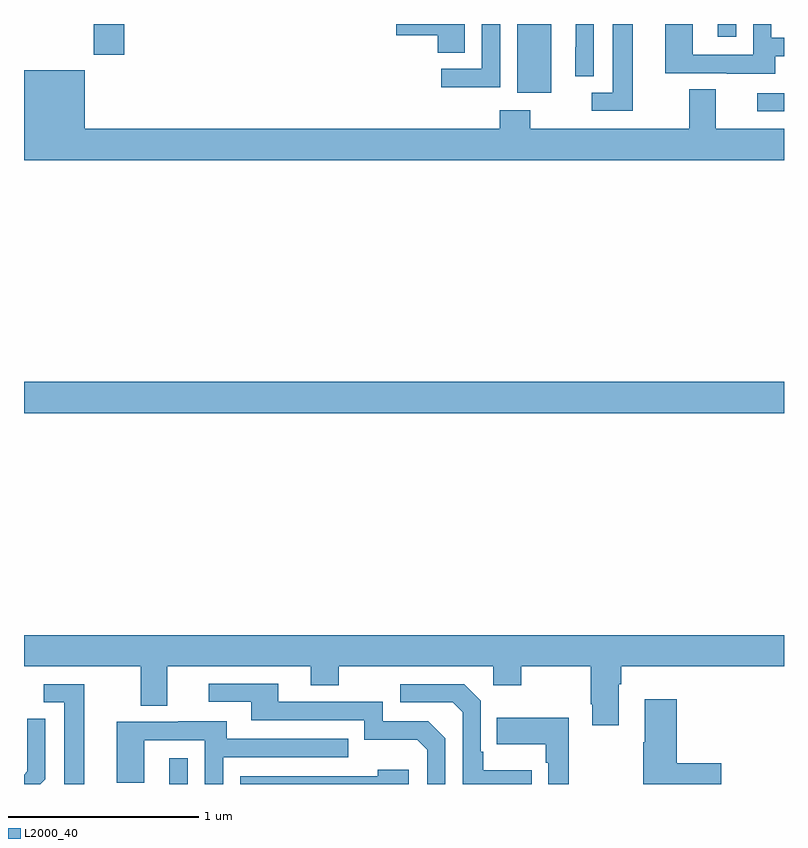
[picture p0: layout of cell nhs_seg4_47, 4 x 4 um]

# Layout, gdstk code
import gdstk
lib = gdstk.Library(unit=1e-6, precision=1e-09)
def R(c, l, rs):  # rectangles x0, y0, x1, y1
    for r in rs: c.add(gdstk.rectangle(r[:2], r[2:], *l))
def P(c, l, *ps):  # polygons
    for p in ps: c.add(gdstk.Polygon(p, *l))
L2000_40 = (2000, 40)

nhs_seg4_47 = lib.new_cell('nhs_seg4_47')
R(nhs_seg4_47, L2000_40, [(113.765,762.9,113.862,763.036), (113,764.852,117,765.016), (116.859,766.44,117,766.536), (115.595,766.538,115.774,766.899), (113.368,766.737,113.528,766.9), (116.651,766.833,116.748,766.9)])
P(nhs_seg4_47, L2000_40, [(116.953,766.731),(117,766.731),(117,766.827),(116.934,766.827),(116.934,766.9),(116.838,766.9),(116.838,766.737),(116.52,766.737),(116.52,766.9),(116.375,766.9),(116.375,766.641),(116.699,766.641),(116.699,766.637),(116.953,766.637)],
  [(115.321,766.9),(114.96,766.9),(114.96,766.841),(115.178,766.841),(115.178,766.75),(115.321,766.75)],
  [(115.506,766.9),(115.41,766.9),(115.41,766.665),(115.197,766.665),(115.197,766.567),(115.506,766.567)],
  [(115.998,766.9),(115.904,766.9),(115.904,766.778),(115.902,766.778),(115.902,766.624),(115.998,766.624)],
  [(116.203,766.9),(116.099,766.9),(116.099,766.539),(115.989,766.539),(115.989,766.443),(116.203,766.443)],
  [(117,766.348),(116.641,766.348),(116.641,766.556),(116.501,766.556),(116.501,766.348),(115.665,766.348),(115.665,766.447),(115.505,766.447),(115.505,766.348),(113.32,766.348),(113.32,766.657),(113,766.657),(113,766.184),(117,766.184)],
  [(116.131,763.424),(116.144,763.424),(116.144,763.52),(117,763.52),(117,763.684),(113,763.684),(113,763.52),(113.615,763.52),(113.615,763.312),(113.755,763.312),(113.755,763.52),(114.509,763.52),(114.509,763.421),(114.657,763.421),(114.657,763.52),(115.47,763.52),(115.47,763.421),(115.617,763.421),(115.617,763.52),(115.984,763.52),(115.984,763.321),(115.991,763.321),(115.991,763.209),(116.131,763.209)],
  [(115.218,763.14),(115.128,763.23),(114.888,763.23),(114.888,763.332),(114.337,763.332),(114.337,763.428),(113.973,763.428),(113.973,763.332),(114.197,763.332),(114.197,763.236),(114.792,763.236),(114.792,763.133),(115.069,763.133),(115.122,763.08),(115.122,762.9),(115.218,762.9)],
  [(115.673,762.973),(115.417,762.973),(115.417,763.069),(115.404,763.069),(115.404,763.338),(115.317,763.425),(114.981,763.425),(114.981,763.329),(115.257,763.329),(115.308,763.278),(115.308,762.9),(115.673,762.9)],
  [(113.317,763.425),(113.103,763.425),(113.103,763.329),(113.213,763.329),(113.213,762.9),(113.317,762.9)],
  [(116.671,763.01),(116.435,763.01),(116.435,763.345),(116.267,763.345),(116.267,763.121),(116.26,763.121),(116.26,762.9),(116.671,762.9)],
  [(115.867,763.249),(115.489,763.249),(115.489,763.109),(115.746,763.109),(115.746,763.013),(115.758,763.013),(115.758,762.9),(115.867,762.9)],
  [(113.112,762.926),(113.112,763.244),(113.016,763.244),(113.016,763.09),(113.018,763.09),(113.018,762.968),(113,762.95),(113,762.9),(113.086,762.9)],
  [(114.048,763.041),(114.707,763.041),(114.707,763.137),(114.067,763.137),(114.067,763.231),(113.813,763.231),(113.813,763.227),(113.489,763.227),(113.489,762.907),(113.634,762.907),(113.634,763.131),(113.952,763.131),(113.952,762.9),(114.048,762.9)],
  [(115.024,762.976),(114.863,762.976),(114.863,762.942),(114.138,762.942),(114.138,762.9),(115.024,762.9)])

lib.write_gds('nhs_seg4_47.gds')
